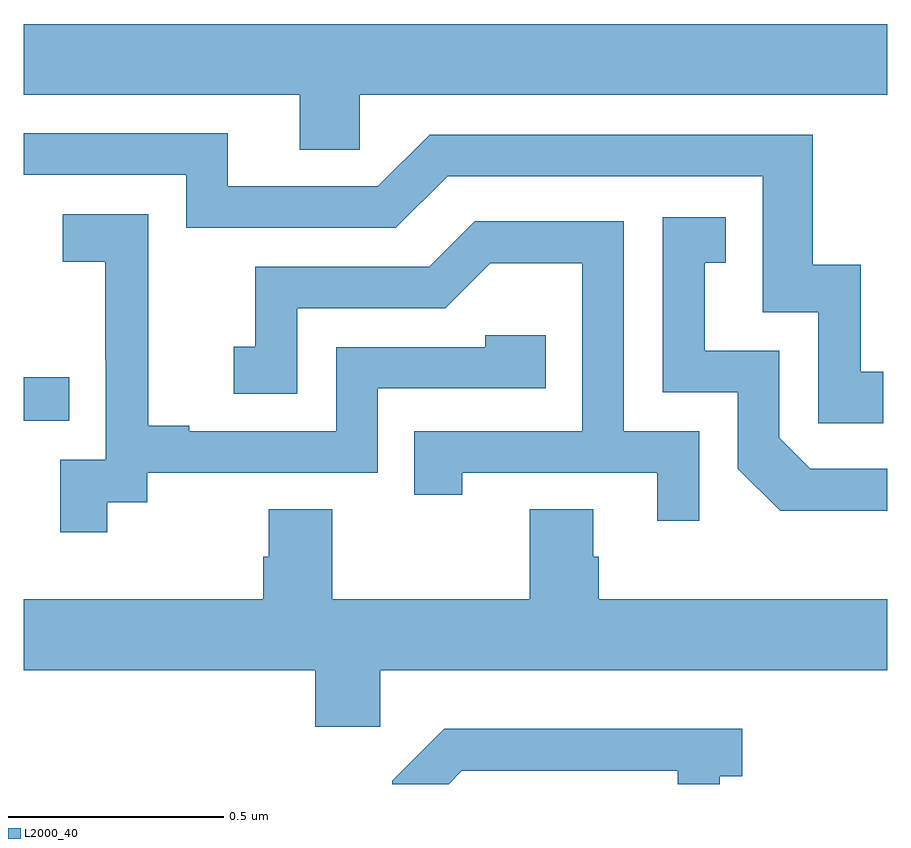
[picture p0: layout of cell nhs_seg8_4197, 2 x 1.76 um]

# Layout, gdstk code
import gdstk
lib = gdstk.Library(unit=1e-6, precision=1e-09)
def R(c, l, rs):  # rectangles x0, y0, x1, y1
    for r in rs: c.add(gdstk.rectangle(r[:2], r[2:], *l))
def P(c, l, *ps):  # polygons
    for p in ps: c.add(gdstk.Polygon(p, *l))
L2000_40 = (2000, 40)

nhs_seg8_4197 = lib.new_cell('nhs_seg8_4197')
R(nhs_seg8_4197, L2000_40, [(167,1119.741,167.105,1119.842)])
P(nhs_seg8_4197, L2000_40, [(167.778,1120.496),(169,1120.496),(169,1120.66),(167,1120.66),(167,1120.496),(167.639,1120.496),(167.639,1120.369),(167.778,1120.369)],
  [(168.991,1119.855),(168.938,1119.855),(168.938,1120.102),(168.827,1120.102),(168.827,1120.404),(167.94,1120.404),(167.82,1120.284),(167.473,1120.284),(167.473,1120.407),(167,1120.407),(167,1120.311),(167.376,1120.311),(167.376,1120.188),(167.862,1120.188),(167.982,1120.308),(168.711,1120.308),(168.711,1119.993),(168.84,1119.993),(168.84,1119.735),(168.991,1119.735)],
  [(167.194,1119.553),(167.286,1119.553),(167.286,1119.621),(167.82,1119.621),(167.82,1119.816),(168.209,1119.816),(168.209,1119.939),(168.069,1119.939),(168.069,1119.912),(167.724,1119.912),(167.724,1119.717),(167.383,1119.717),(167.383,1119.73),(167.288,1119.73),(167.288,1120.013),(167.289,1120.013),(167.289,1120.219),(167.091,1120.219),(167.091,1120.109),(167.189,1120.109),(167.189,1119.881),(167.19,1119.881),(167.19,1119.651),(167.085,1119.651),(167.085,1119.483),(167.194,1119.483)],
  [(169,1119.63),(168.822,1119.63),(168.75,1119.702),(168.75,1119.903),(168.577,1119.903),(168.577,1120.107),(168.626,1120.107),(168.626,1120.213),(168.48,1120.213),(168.48,1119.807),(168.654,1119.807),(168.654,1119.63),(168.752,1119.533),(169,1119.533)],
  [(168.564,1119.717),(168.39,1119.717),(168.39,1120.203),(168.044,1120.203),(167.939,1120.098),(167.536,1120.098),(167.536,1119.913),(167.487,1119.913),(167.487,1119.804),(167.634,1119.804),(167.634,1120.002),(167.976,1120.002),(168.08,1120.106),(168.294,1120.106),(168.294,1119.717),(167.905,1119.717),(167.905,1119.57),(168.016,1119.57),(168.016,1119.621),(168.467,1119.621),(168.467,1119.51),(168.564,1119.51)],
  [(167.826,1119.164),(169,1119.164),(169,1119.328),(168.332,1119.328),(168.332,1119.426),(168.319,1119.426),(168.319,1119.536),(168.172,1119.536),(168.172,1119.328),(167.715,1119.328),(167.715,1119.536),(167.567,1119.536),(167.567,1119.426),(167.555,1119.426),(167.555,1119.328),(167,1119.328),(167,1119.164),(167.675,1119.164),(167.675,1119.033),(167.826,1119.033)],
  [(168.015,1118.931),(168.515,1118.931),(168.515,1118.9),(168.612,1118.9),(168.612,1118.918),(168.664,1118.918),(168.664,1119.028),(167.974,1119.028),(167.853,1118.907),(167.853,1118.9),(167.984,1118.9)])

lib.write_gds('nhs_seg8_4197.gds')
